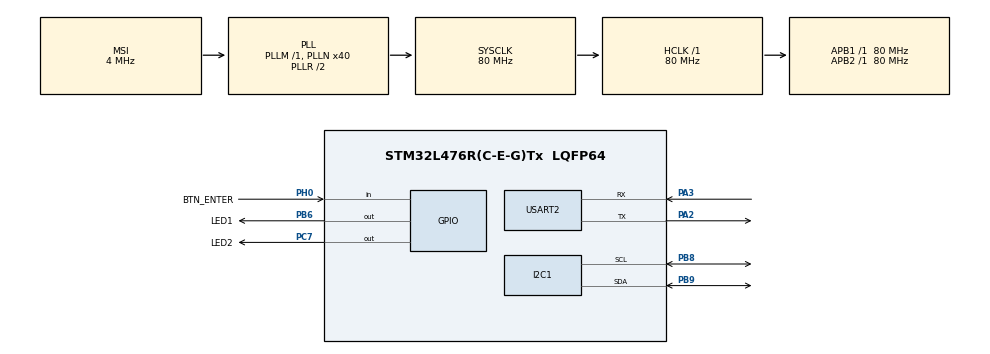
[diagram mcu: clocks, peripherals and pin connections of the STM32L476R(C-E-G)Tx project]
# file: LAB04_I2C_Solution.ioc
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I2C1.Speed=100 
I2C1.Timing=0x10909CEC
Mcu.Family=STM32L4
Mcu.Name=STM32L476R(C-E-G)Tx
Mcu.Package=LQFP64
NVIC.PriorityGroup=NVIC_PRIORITYGROUP_4
PA2.Mode=Asynchronous
PA2.Signal=USART2_TX
PA3.Mode=Asynchronous
PA3.Signal=USART2_RX
PB6.GPIO_Label=LED1
PB6.Signal=GPIO_Output
PB8.Mode=I2C
PB8.Signal=I2C1_SCL
PB9.Mode=I2C
PB9.Signal=I2C1_SDA
PC7.GPIO_Label=LED2
PC7.Signal=GPIO_Output
PH0-OSC_IN\ (PH0).GPIO_Label=BTN_ENTER
PH0-OSC_IN\ (PH0).Signal=GPIO_Input
ProjectManager.HeapSize=0x200
ProjectManager.StackSize=0x400
ProjectManager.TargetToolchain=STM32CubeIDE
RCC.AHBFreq_Value=80000000
RCC.APB1Freq_Value=80000000
RCC.APB1TimFreq_Value=80000000
RCC.APB2Freq_Value=80000000
RCC.APB2TimFreq_Value=80000000
RCC.CortexFreq_Value=80000000
RCC.HCLKFreq_Value=80000000
RCC.HSE_VALUE=8000000
RCC.HSI_VALUE=16000000
RCC.LSE_VALUE=32768
RCC.MSI_VALUE=4000000
RCC.PLLN=40
RCC.SYSCLKFreq_VALUE=80000000
RCC.SYSCLKSource=RCC_SYSCLKSOURCE_PLLCLK
RCC.VCOOutputFreq_Value=160000000
USART2.VirtualMode-Asynchronous=VM_ASYNC
board=custom

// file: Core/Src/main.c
/* USER CODE BEGIN Header */
/**
 * @file main.c
 * @brief STTS22H Driver Testbench
 * @author Philipp Schilk, 2023
 */
/* USER CODE END Header */
#include "main.h"

/* USER CODE BEGIN Includes */
#include "stts22h_driver.h"
#include <inttypes.h>
#include <stdio.h>
/* USER CODE END Includes */

I2C_HandleTypeDef hi2c1;

UART_HandleTypeDef huart2;

void SystemClock_Config(void);
static void MX_GPIO_Init(void);
static void MX_USART2_UART_Init(void);
static void MX_I2C1_Init(void);
/* USER CODE BEGIN PFP */
void test_driver(void);
void wait_for_button_press(void);

/* USER CODE END PFP */

int main(void) {

  /* MCU Configuration--------------------------------------------------------*/

  /* Reset of all peripherals, Initializes the Flash interface and the Systick. */
  HAL_Init();

  /* Configure the system clock */
  SystemClock_Config();

  /* Initialize all configured peripherals */
  MX_GPIO_Init();
  MX_USART2_UART_Init();
  MX_I2C1_Init();
  /* USER CODE BEGIN 2 */

  test_driver();

  /* USER CODE END 2 */

  /* Infinite loop */
  while (1) {

  }
}

void SystemClock_Config(void) {
  RCC_OscInitTypeDef RCC_OscInitStruct = {0};
  RCC_ClkInitTypeDef RCC_ClkInitStruct = {0};

  /** Configure the main internal regulator output voltage
   */
  if (HAL_PWREx_ControlVoltageScaling(PWR_REGULATOR_VOLTAGE_SCALE1) != HAL_OK) {
    Error_Handler();
  }

  /** Initializes the RCC Oscillators according to the specified parameters
   * in the RCC_OscInitTypeDef structure.
   */
  RCC_OscInitStruct.OscillatorType = RCC_OSCILLATORTYPE_MSI;
  RCC_OscInitStruct.MSIState = RCC_MSI_ON;
  RCC_OscInitStruct.MSICalibrationValue = 0;
  RCC_OscInitStruct.MSIClockRange = RCC_MSIRANGE_6;
  RCC_OscInitStruct.PLL.PLLState = RCC_PLL_ON;
  RCC_OscInitStruct.PLL.PLLSource = RCC_PLLSOURCE_MSI;
  RCC_OscInitStruct.PLL.PLLM = 1;
  RCC_OscInitStruct.PLL.PLLN = 40;
  RCC_OscInitStruct.PLL.PLLP = RCC_PLLP_DIV7;
  RCC_OscInitStruct.PLL.PLLQ = RCC_PLLQ_DIV2;
  RCC_OscInitStruct.PLL.PLLR = RCC_PLLR_DIV2;
  if (HAL_RCC_OscConfig(&RCC_OscInitStruct) != HAL_OK) {
    Error_Handler();
  }

  /** Initializes the CPU, AHB and APB buses clocks
   */
  RCC_ClkInitStruct.ClockType = RCC_CLOCKTYPE_HCLK | RCC_CLOCKTYPE_SYSCLK | RCC_CLOCKTYPE_PCLK1 | RCC_CLOCKTYPE_PCLK2;
  RCC_ClkInitStruct.SYSCLKSource = RCC_SYSCLKSOURCE_PLLCLK;
  RCC_ClkInitStruct.AHBCLKDivider = RCC_SYSCLK_DIV1;
  RCC_ClkInitStruct.APB1CLKDivider = RCC_HCLK_DIV1;
  RCC_ClkInitStruct.APB2CLKDivider = RCC_HCLK_DIV1;

  if (HAL_RCC_ClockConfig(&RCC_ClkInitStruct, FLASH_LATENCY_4) != HAL_OK) {
    Error_Handler();
  }
}

static void MX_I2C1_Init(void) {

  /* USER CODE BEGIN I2C1_Init 0 */
  //$ START SOL
  /* USER CODE END I2C1_Init 0 */

  hi2c1.Instance = I2C1;
  hi2c1.Init.Timing = 0x10909CEC;
  hi2c1.Init.OwnAddress1 = 0;
  hi2c1.Init.AddressingMode = I2C_ADDRESSINGMODE_7BIT;
  hi2c1.Init.DualAddressMode = I2C_DUALADDRESS_DISABLE;
  hi2c1.Init.OwnAddress2 = 0;
  hi2c1.Init.OwnAddress2Masks = I2C_OA2_NOMASK;
  hi2c1.Init.GeneralCallMode = I2C_GENERALCALL_DISABLE;
  hi2c1.Init.NoStretchMode = I2C_NOSTRETCH_DISABLE;
  if (HAL_I2C_Init(&hi2c1) != HAL_OK) {
    Error_Handler();
  }

  /** Configure Analogue filter
   */
  if (HAL_I2CEx_ConfigAnalogFilter(&hi2c1, I2C_ANALOGFILTER_ENABLE) != HAL_OK) {
    Error_Handler();
  }

  /** Configure Digital filter
   */
  if (HAL_I2CEx_ConfigDigitalFilter(&hi2c1, 0) != HAL_OK) {
    Error_Handler();
  }
  /* USER CODE BEGIN I2C1_Init 2 */
  //$ END
  /* USER CODE END I2C1_Init 2 */
}

static void MX_USART2_UART_Init(void) {

  huart2.Instance = USART2;
  huart2.Init.BaudRate = 115200;
  huart2.Init.WordLength = UART_WORDLENGTH_8B;
  huart2.Init.StopBits = UART_STOPBITS_1;
  huart2.Init.Parity = UART_PARITY_NONE;
  huart2.Init.Mode = UART_MODE_TX_RX;
  huart2.Init.HwFlowCtl = UART_HWCONTROL_NONE;
  huart2.Init.OverSampling = UART_OVERSAMPLING_16;
  huart2.Init.OneBitSampling = UART_ONE_BIT_SAMPLE_DISABLE;
  huart2.AdvancedInit.AdvFeatureInit = UART_ADVFEATURE_NO_INIT;
  if (HAL_UART_Init(&huart2) != HAL_OK) {
    Error_Handler();
  }
}

static void MX_GPIO_Init(void) {
  GPIO_InitTypeDef GPIO_InitStruct = {0};

  /* GPIO Ports Clock Enable */
  __HAL_RCC_GPIOH_CLK_ENABLE();
  __HAL_RCC_GPIOA_CLK_ENABLE();
  __HAL_RCC_GPIOC_CLK_ENABLE();
  __HAL_RCC_GPIOB_CLK_ENABLE();

  /*Configure GPIO pin Output Level */
  HAL_GPIO_WritePin(LED2_GPIO_Port, LED2_Pin, GPIO_PIN_RESET);

  /*Configure GPIO pin Output Level */
  HAL_GPIO_WritePin(LED1_GPIO_Port, LED1_Pin, GPIO_PIN_RESET);

  /*Configure GPIO pin : BTN_ENTER_Pin */
  GPIO_InitStruct.Pin = BTN_ENTER_Pin;
  GPIO_InitStruct.Mode = GPIO_MODE_INPUT;
  GPIO_InitStruct.Pull = GPIO_NOPULL;
  HAL_GPIO_Init(BTN_ENTER_GPIO_Port, &GPIO_InitStruct);

  /*Configure GPIO pin : LED2_Pin */
  GPIO_InitStruct.Pin = LED2_Pin;
  GPIO_InitStruct.Mode = GPIO_MODE_OUTPUT_PP;
  GPIO_InitStruct.Pull = GPIO_NOPULL;
  GPIO_InitStruct.Speed = GPIO_SPEED_FREQ_LOW;
  HAL_GPIO_Init(LED2_GPIO_Port, &GPIO_InitStruct);

  /*Configure GPIO pin : LED1_Pin */
  GPIO_InitStruct.Pin = LED1_Pin;
  GPIO_InitStruct.Mode = GPIO_MODE_OUTPUT_PP;
  GPIO_InitStruct.Pull = GPIO_NOPULL;
  GPIO_InitStruct.Speed = GPIO_SPEED_FREQ_LOW;
  HAL_GPIO_Init(LED1_GPIO_Port, &GPIO_InitStruct);

}

/* USER CODE BEGIN 4 */

void test_driver(void) {

  printf("Press enter button to test sensor communication...\r\n");
  wait_for_button_press();

  // ==== 1: Check if communication is OK ====

  // TODO: Call your completed stts22h_check_communication() function.
  //       If it returns an error, print an error message using printf and
  //       call the Error_Handler() function. Otherwise print a confirmation
  //       message that the sensor communication is OK.
  //$ START SOL
  if (stts22h_check_communication() != STTS22H_OK) {
    printf("Sensor communication ERROR!\r\n");
    Error_Handler();
  }
  printf("Sensor communication Ok.\r\n");
  //$ END

  printf("Press enter button to test free-run mode...\r\n");
  wait_for_button_press();

  // ==== 2: Configure in free-run mode ====
  // TODO: Call your completed stts22h_configure() function to put the
  //       temperature sensor into free-run mode at an output data rate of 25Hz.
  //       If it returns an error, print an error message using printf and
  //       call the Error_Handler() function. Otherwise print a confirmation
  //       message that the sensor was configured correctly.
  //$ START SOL
  if (stts22h_configure(STTS22H_MODE_FREERUN_25HZ) != STTS22H_OK) {
    printf("Sensor config ERROR!\r\n");
    Error_Handler();
  }
  printf("Configured sensor in 25Hz free-run mode.\r\n");
  //$ END

  HAL_Delay(100);

  // ==== 3: Read temperature 20 times ====
  for (unsigned int i = 0; i < 20; i++) {
    HAL_Delay(500);

    int16_t temp_decidegree = 0;
    // TODO: Use your stts22h_read_temp() functiont to retrieve the
    //       latest temperature measurement from the stts22h. If it returns
    //       an error, use printf to print an error message and call
    //       the Error_Handler() function.
    //$ START SOL
    if (stts22h_read_temp(&temp_decidegree) != STTS22H_OK) {
      printf("Failed to read temperature!\r\n");
      Error_Handler();
    }
    //$ END

    // TODO: Convert temp_decidegree value to actual degrees:
    // float temp_degress = TODO;                  //$ EX
    float temp_degress = temp_decidegree / 100.0f; //$ SOL

    printf("[%u/20] Current temperature: %.2f\r\n", i + 1, temp_degress);
  }

  printf("Press enter button to test one-shot mode...\r\n");
  wait_for_button_press();

  // ==== 4: Configure in one-shot mode ====
  // TODO: Call your completed stts22h_configure() function to put the
  //       temperature sensor into one-shot mode.
  //       If it returns an error, print an error message using printf and
  //       call the Error_Handler() function. Otherwise print a confirmation
  //       message that the sensor was configured correctly.
  //$ START SOL
  if (stts22h_configure(STTS22H_MODE_ONE_SHOT) != STTS22H_OK) {
    printf("Sensor config ERROR!\r\n");
    Error_Handler();
  }
  printf("Configured sensor in one-shot mode.\r\n");
  //$ END

  // ==== 5: On button press: trigger measurement, wait for completion, print result ====
  while (1) {

    // Trigger measurement:
    // TODO: Call your completed stts22h_trigger_oneshot() function to
    //       trigger a single measurement.
    //       If it returns an error, print an error message using printf and
    //       call the Error_Handler() function. Otherwise print a confirmation
    //       message that a measurement was triggered.
    //$ START SOL
    if (stts22h_trigger_oneshot() != STTS22H_OK) {
      printf("ERROR: Failed to trigger one-shot measurement!\r\n");
      Error_Handler();
    }
    printf("Triggered measurement!\r\n");
    //$ END

    // Wait for measurement to be completed:
    uint32_t cnt = 0;
    while (1) {
      HAL_Delay(10);

      bool is_busy = false;
      // TODO: Call your stts22h_check_is_busy function to determine if the
      //       measurement you triggered is completed. If it returns an error,
      //       use printf to print an error message.
      //$ START SOL
      if (stts22h_check_is_busy(&is_busy) != STTS22H_OK) {
        printf("ERROR: Failed to check if sensor is busy!\r\n");
        Error_Handler();
      }
      //$ END

      if (!is_busy) {
        break; // Measurement done.
      }

      // Timeout:
      cnt++;
      if (cnt > 20) {
        printf("ERROR: One-shot measurement took too long to complete!\r\n");
        Error_Handler();
      }
    }

    // Retrieve & print measurement:
    int16_t temp_decidegree = 0;
    // TODO Retrieve the current temperature, convert it to degrees, and
    //      print it to the console (just like you did before).
    //$ START SOL
    if (stts22h_read_temp(&temp_decidegree) != STTS22H_OK) {
      printf("Failed to read temperature!\r\n");
      Error_Handler();
    }
    float temp_degress = temp_decidegree / 100.0f;
    printf("Current temperature: %.2f\r\n", temp_degress);
    //$ END

    // Wait for button to be pressed before doing another one-shot measurement:
    printf("Press enter to test one-shot measurement...\r\n");
    wait_for_button_press();
  }
}

void wait_for_button_press(void) {
  // If the button is already pressed, wait for button to be released:
  while (HAL_GPIO_ReadPin(BTN_ENTER_GPIO_Port, BTN_ENTER_Pin) == GPIO_PIN_RESET) {
  }
  // Wait for the button to be released:
  while (HAL_GPIO_ReadPin(BTN_ENTER_GPIO_Port, BTN_ENTER_Pin) == GPIO_PIN_SET) {
  }
}

/* USER CODE END 4 */

void Error_Handler(void) {
  /* USER CODE BEGIN Error_Handler_Debug */
  /* User can add his own implementation to report the HAL error return state */
  HAL_GPIO_WritePin(LED1_GPIO_Port, LED1_Pin, 0);
  HAL_GPIO_WritePin(LED2_GPIO_Port, LED2_Pin, 1);
  while (1) {
    HAL_GPIO_TogglePin(LED1_GPIO_Port, LED1_Pin);
    HAL_GPIO_TogglePin(LED2_GPIO_Port, LED2_Pin);
    HAL_Delay(1000);

    printf("Stuck in error handler :(...\r\n");
  }
  /* USER CODE END Error_Handler_Debug */
}
